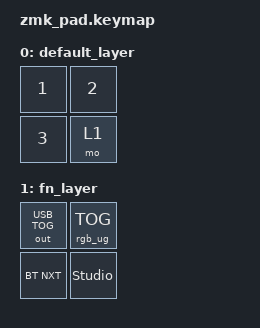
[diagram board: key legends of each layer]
/*
 * Copyright (c) 2020 The ZMK Contributors
 *
 * SPDX-License-Identifier: MIT
 */

#include <behaviors.dtsi>
#include <dt-bindings/zmk/keys.h>
#include <dt-bindings/zmk/rgb.h>
#include <dt-bindings/zmk/bt.h>

/ {
    keymap0: keymap {
        compatible = "zmk,keymap";

        default_layer {
            bindings = <
                &kp N1 &kp N2
                &kp N3 &mo 1 
            >;
        };

        fn_layer {
            bindings = <
                &out USB_TOG  &rgb_ug RGB_TOG
                &bt  BT_NXT   &studio_unlock
            >;
        };
    };
};
